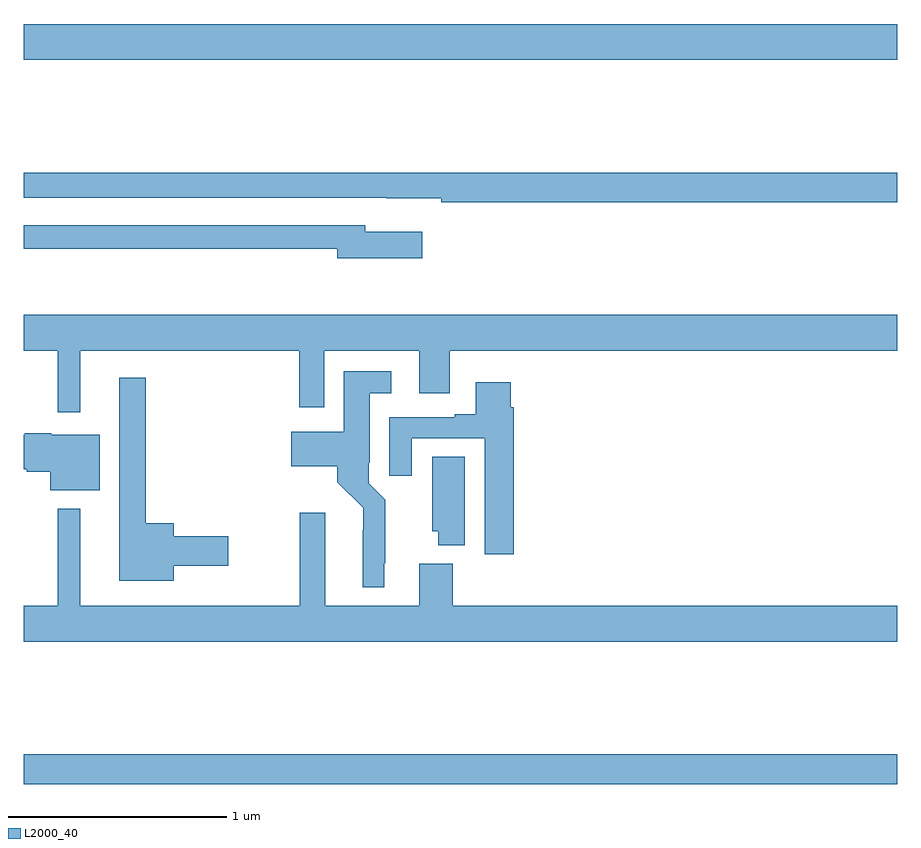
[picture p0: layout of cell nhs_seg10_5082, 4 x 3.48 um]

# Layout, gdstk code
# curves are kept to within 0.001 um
import gdstk
lib = gdstk.Library(unit=1e-6, precision=1e-09)
def R(c, l, rs):  # rectangles x0, y0, x1, y1
    for r in rs: c.add(gdstk.rectangle(r[:2], r[2:], *l))
def P(c, l, *ps):  # polygons
    for p in ps: c.add(gdstk.Polygon(p, *l))
L2000_40 = (2000, 40)

nhs_seg10_5082 = lib.new_cell('nhs_seg10_5082')
R(nhs_seg10_5082, L2000_40, [(405,1312.984,409,1313.12), (405,1316.3,409,1316.464)])
P(nhs_seg10_5082, L2000_40, [(409,1315.784),(405,1315.784),(405,1315.668),(406.66,1315.668),(406.66,1315.667),(406.912,1315.667),(406.912,1315.648),(409,1315.648)],
  [(406.825,1315.513),(406.564,1315.513),(406.564,1315.542),(405,1315.542),(405,1315.434),(406.436,1315.434),(406.436,1315.391),(406.825,1315.391)],
  [(405.259,1314.968),(406.261,1314.968),(406.261,1314.708),(406.377,1314.708),(406.377,1314.968),(406.811,1314.968),(406.811,1314.774),(406.951,1314.774),(406.951,1314.968),(409,1314.968),(409,1315.132),(405,1315.132),(405,1314.968),(405.155,1314.968),(405.155,1314.687),(405.259,1314.687)],
  [(406.651,1313.995),(406.655,1313.995),(406.655,1314.286),(406.581,1314.36),(406.581,1314.454),(406.585,1314.454),(406.585,1314.773),(406.684,1314.773),(406.684,1314.874),(406.466,1314.874),(406.466,1314.598),(406.224,1314.598),(406.224,1314.44),(406.436,1314.44),(406.436,1314.366),(406.554,1314.248),(406.553,1313.885),(406.651,1313.885)],
  [(405.688,1313.984),(405.937,1313.984),(405.937,1314.119),(405.688,1314.119),(405.688,1314.178),(405.559,1314.178),(405.559,1314.844),(405.437,1314.844),(405.437,1313.915),(405.688,1313.915)],
  [(407.243,1314.71),(407.23,1314.71),(407.23,1314.823),(407.069,1314.823),(407.069,1314.676),(406.973,1314.676),(406.973,1314.663),(406.673,1314.663),(406.673,1314.396),(406.777,1314.396),(406.777,1314.567),(407.111,1314.567),(407.111,1314.036),(407.243,1314.036)],
  [(405.349,1314.583),(405.126,1314.583),(405.126,1314.591),(405.004,1314.591),(405.004,1314.583),(405,1314.583),(405,1314.425),(405.015,1314.425),(405.015,1314.413),(405.122,1314.413),(405.122,1314.329),(405.349,1314.329)],
  [(407.02,1314.482),(406.871,1314.482),(406.871,1314.141),(406.898,1314.141),(406.898,1314.077),(407.02,1314.077)],
  [(409,1313.8),(406.964,1313.8),(406.964,1313.992),(406.811,1313.992),(406.811,1313.8),(406.381,1313.8),(406.381,1314.226),(406.264,1314.226),(406.264,1313.8),(405.259,1313.8),(405.259,1314.244),(405.155,1314.244),(405.155,1313.8),(405,1313.8),(405,1313.636),(409,1313.636)])

lib.write_gds('nhs_seg10_5082.gds')
